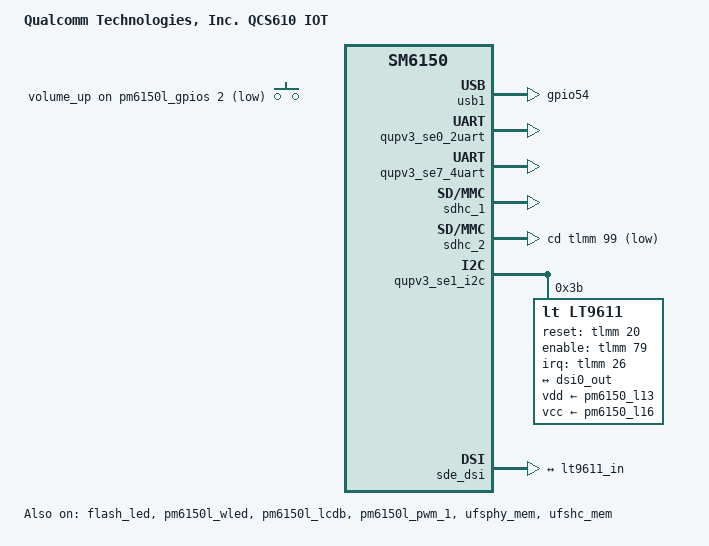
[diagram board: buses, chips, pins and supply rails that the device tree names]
#include <dt-bindings/gpio/gpio.h>
#include <dt-bindings/interrupt-controller/irq.h>
#include <dt-bindings/iio/qcom,spmi-vadc.h>
#include <dt-bindings/input/input.h>
#include <dt-bindings/clock/qcom,rpmh.h>
#include <dt-bindings/clock/qcom,gcc-sm6150.h>
#include <dt-bindings/clock/qcom,camcc-sm6150.h>
#include <dt-bindings/clock/qcom,dispcc-sm6150.h>
#include <dt-bindings/clock/qcom,gpucc-sm6150.h>
#include <dt-bindings/iio/qti_power_supply_iio.h>
#include "camera/qcs610-camera-sensor-idp.dtsi"

#include "sm6150-audio.dtsi"
#include "sm6150-audio-overlay.dtsi"

/ {
	model = "Qualcomm Technologies, Inc. QCS610 IOT";
	compatible = "qcom,qcs610-iot", "qcom,qcs610", "qcom,iot";
	qcom,board-id = <32 0>;
};

&pm6150l_gpios {
	key_vol_up {
		key_vol_up_default: key_vol_up_default {
			pins = "gpio2";
			function = "normal";
			input-enable;
			bias-pull-up;
			power-source = <0>;
		};
	};

	irled {
		irled_pwm: irled_pwm_default {
			pins = "gpio6";
			function = "func1";
			qcom,drive-strength = <2>;
			power-source = <0>;
			bias-disable;
			output-low;
		};
	};

	cam_sensor_dvdd {
		cam_sensor_dvdd_default: cam_sensor_dvdd_default {
			pins = "gpio3";
			function = "normal";
			output-low;
			power-source = <0>;
		};
	};

	cam_sensor_1_vana {
		cam_sensor_1_vana_default: cam_sensor_1_vana_default {
			pins = "gpio8";
			function = "normal";
			output-low;
			power-source = <0>;
		};
	};

	cam_sensor_0_vana {
		cam_sensor_0_vana_default: cam_sensor_0_vana_default {
			pins = "gpio9";
			function = "normal";
			output-low;
			power-source = <0>;
		};
	};

	cam_sensor_1_2_vana {
		cam_sensor_1_2_vana_default: cam_sensor_1_2_vana_default {
			pins = "gpio4";
			function = "normal";
			output-low;
			power-source = <0>;
		};
	};
};

&soc {
	gpio_keys {
		compatible = "gpio-keys";
		label = "gpio-keys";

		pinctrl-names = "default";
		pinctrl-0 = <&key_vol_up_default>;

		vol_up {
			label = "volume_up";
			gpios = <&pm6150l_gpios 2 GPIO_ACTIVE_LOW>;
			linux,input-type = <1>;
			linux,code = <KEY_VOLUMEUP>;
			linux,can-disable;
			debounce-interval = <15>;
			gpio-key,wakeup;
		};
	};

	mtp_batterydata: qcom,battery-data {
		qcom,batt-id-range-pct = <15>;
		#include "qg-batterydata-alium-3600mah.dtsi"
		#include "qg-batterydata-mlp356477-2800mah.dtsi"
	};
};

&tlmm {
	usb_typea_host {
		usb_typea_host_en: usb_typea_host_en {
			mux {
				pins = "gpio54";
				function = "gpio";
			};

			config {
				pins = "gpio54";
				drive-strength = <2>;
				bias-disable;
				output-high;
			};
		};
	};
};


&flash_led {
	status = "ok";
};

&pm6150l_wled {
	qcom,string-cfg= <1>;
	qcom,leds-per-string = <7>;
	status = "ok";
	qcom,cabc-sel = <0>;
	qcom,fs-current-limit = <20000>;
	default-brightness = <2000>;
};

&pm6150l_lcdb {
	status = "ok";
};

&pm6150l_pwm_1 {
	status = "okay";
};

&usb1 {
	status = "okay";
	pinctrl-names = "default";
	pinctrl-0 = <&usb_typea_host_en>;
};

&pm6150_qg {
	qcom,qg-iterm-ma = <100>;
	qcom,hold-soc-while-full;
	qcom,linearize-soc;
	qcom,cl-feedback-on;
};

&pm6150_pdphy {
	#io-channel-cells = <1>;
	io-channels = <&pm6150_charger PSY_IIO_PD_ACTIVE>,
		      <&pm6150_charger PSY_IIO_TYPEC_CC_ORIENTATION>,
		      <&pm6150_charger PSY_IIO_CONNECTOR_TYPE>,
		      <&pm6150_charger PSY_IIO_TYPEC_POWER_ROLE>,
		      <&pm6150_charger PSY_IIO_PD_USB_SUSPEND_SUPPORTED>,
		      <&pm6150_charger PSY_IIO_TYPEC_SRC_RP>,
		      <&pm6150_charger PSY_IIO_PD_IN_HARD_RESET>,
		      <&pm6150_charger PSY_IIO_PD_CURRENT_MAX>,
		      <&pm6150_charger PSY_IIO_PR_SWAP>,
		      <&pm6150_charger PSY_IIO_PD_VOLTAGE_MIN>,
		      <&pm6150_charger PSY_IIO_PD_VOLTAGE_MAX>,
		      <&pm6150_charger PSY_IIO_USB_REAL_TYPE>,
		      <&pm6150_charger PSY_IIO_TYPEC_MODE>,
		      <&pm6150_charger PSY_IIO_PE_START>;
	io-channel-names = "pd_active",
			   "typec_cc_orientation",
			   "connector_type",
			   "typec_power_role",
			   "pd_usb_suspend_supported",
			   "typec_src_rp",
			   "pd_in_hard_reset",
			   "pr_current_max",
			   "pr_swap",
			   "pd_voltage_min",
			   "pd_voltage_max",
			   "real_type",
			   "typec_mode",
			   "pe_start";
};

&pm6150_charger {
	depends-on-supply = <&pm6150_vadc>;
	#io-channel-cells = <1>;
	io-channels = <&pm6150_vadc ADC5_USB_IN_V_16>,
		      <&pm6150_vadc ADC5_USB_IN_I>,
		      <&pm6150_vadc ADC5_CHG_TEMP>,
		      <&pm6150_vadc ADC5_DIE_TEMP>,
		      <&pm6150_vadc ADC5_AMUX_THM4_100K_PU>,
		      <&pm6150_vadc ADC5_SBUx>,
		      <&pm6150_vadc ADC5_VPH_PWR>,
		      <&pm6150_qg PSY_IIO_RESISTANCE_ID>,
		      <&pm6150_qg PSY_IIO_VOLTAGE_NOW>,
		      <&pm6150_qg PSY_IIO_TEMP>,
		      <&pm6150_qg PSY_IIO_CAPACITY>,
		      <&pm6150_qg PSY_IIO_VOLTAGE_OCV>,
		      <&pm6150_qg PSY_IIO_VOLTAGE_AVG>,
		      <&pm6150_qg PSY_IIO_DEBUG_BATTERY>,
		      <&pm6150_qg PSY_IIO_REAL_CAPACITY>,
		      <&pm6150_qg PSY_IIO_CC_SOC>,
		      <&pm6150_qg PSY_IIO_CURRENT_NOW>,
		      <&pm6150_qg PSY_IIO_VOLTAGE_MAX>,
		      <&pm6150_qg PSY_IIO_CHARGE_COUNTER>,
		      <&pm6150_qg PSY_IIO_CYCLE_COUNT>,
		      <&pm6150_qg PSY_IIO_TIME_TO_FULL_NOW>;
	io-channel-names = "usb_in_voltage",
			   "usb_in_current",
			   "chg_temp",
			   "die_temp",
			   "conn_temp",
			   "sbux_res",
			   "vph_voltage",
			   "resistance_id",
			   "voltage_now",
			   "temp",
			   "capacity",
			   "voltage_ocv",
			   "voltage_avg",
			   "debug_battery",
			   "real_capacity",
			   "cc_soc",
			   "current_now",
			   "voltage_max",
			   "charge_counter",
			   "cycle_count",
			   "time_to_full_now";
	qcom,batteryless-platform;
	qcom,auto-recharge-soc = <98>;
	qcom,step-charging-enable;
	qcom,sw-jeita-enable;
	qcom,fcc-stepping-enable;
	qcom,suspend-input-on-debug-batt;
	qcom,sec-charger-config = <0>;
	qcom,thermal-mitigation = <4200000 3500000 3000000
			2500000 2000000 1500000 1000000 500000>;
	dpdm-supply = <&qusb_phy0>;
	qcom,charger-temp-max = <800>;
	qcom,smb-temp-max = <800>;
};

&ufsphy_mem {
	compatible = "qcom,ufs-phy-qmp-v3-660";

	vdda-phy-supply = <&pm6150_l4>; /* 0.9v */
	vdda-phy-always-on;
	vdda-pll-supply = <&pm6150_l11>;
	vdda-phy-max-microamp = <30000>;
	vdda-pll-max-microamp = <12000>;

	status = "ok";
};

&ufshc_mem {
	vdd-hba-supply = <&ufs_phy_gdsc>;
	vdd-hba-fixed-regulator;
	vcc-supply = <&pm6150l_l11>;
	vcc-voltage-level = <2960000 2960000>;
	vccq2-supply = <&pm6150_l12>;
	vccq2-voltage-level = <1800000 1800000>;
	vcc-max-microamp = <600000>;
	vccq2-max-microamp = <600000>;

	qcom,vddp-ref-clk-supply = <&pm6150l_l3>;
	qcom,vddp-ref-clk-max-microamp = <100>;
	qcom,vddp-ref-clk-min-uV = <1232000>;
	qcom,vddp-ref-clk-max-uV = <1260000>;

	/*
	 * QCS610 UFS 3.x uses PMIC Buck regulator which requires additional
	 * delay to settle its voltage back to normal 2.5volts from
	 * the power down, so below property is used to enable delay
	 * before sending start stop unit command.
	 */
	qcom,delay-ssu;

	status = "ok";
};

&usb0 {
	qcom,interconnect-values-nom = /* NOMINAL Votes */
						<1000000 2500000>,
						<0 2400>,
						<0 40000>;
	qcom,interconnect-values-svs = /* SVS Votes */
						<240000 700000>,
						<0 2400>,
						<0 40000>;
	extcon = <&pm6150_pdphy>, <&pm6150_charger>, <&eud>;

	#io-channel-cells = <1>;
	io-channels= <&pm6150_charger PSY_IIO_USB_REAL_TYPE>;
	io-channel-names = "chg_type";
};

&qupv3_se0_2uart {
	status = "ok";
};

&qupv3_se7_4uart {
	status = "ok";
};

&pil_camera_mem {
	reg = <0x0 0x8f800000 0x0 0x500000>;
};

&pil_modem_mem {
	reg = <0x0 0x8fd00000 0x0 0x3100000>;
};

&msm_gpu {
	/delete-node/qcom,gpu-mempools;
};

&sdhc_1 {
	vdd-supply = <&pm6150l_l11>;
	qcom,vdd-voltage-level = <2950000 2950000>;
	qcom,vdd-current-level = <0 570000>;

	vdd-io-supply = <&pm6150_l12>;
	qcom,vdd-io-always-on;
	qcom,vdd-io-lpm-sup;
	qcom,vdd-io-voltage-level = <1800000 1800000>;
	qcom,vdd-io-current-level = <0 325000>;

	pinctrl-names = "default", "sleep";
	pinctrl-0 = <&sdc1_on>;
	pinctrl-1 = <&sdc1_off>;

	status = "ok";
};

&sdhc_2 {
	vdd-supply = <&pm6150l_l9>;
	qcom,vdd-voltage-level = <2950000 2950000>;
	qcom,vdd-current-level = <0 800000>;

	vdd-io-supply = <&pm6150l_l6>;
	qcom,vdd-io-voltage-level = <1800000 3100000>;
	qcom,vdd-io-current-level = <0 22000>;

	pinctrl-names = "default", "sleep";
	pinctrl-0 = <&sdc2_on>;
	pinctrl-1 = <&sdc2_off>;

	cd-gpios = <&tlmm 99 GPIO_ACTIVE_LOW>;

	status = "ok";
};

&L16A {
	regulator-max-microvolt = <3304000>;
};

&L19A {
	regulator-max-microvolt = <3304000>;
};

&L4C {
	regulator-max-microvolt = <2912000>;
};

&L5C {
	regulator-max-microvolt = <2912000>;
};

&L13A {
	regulator-always-on;
};

&L7C {
	regulator-always-on;
};

&L10A {
	regulator-always-on;
};

&L14A {
	regulator-always-on;
};

&sde_dp {
	status="disabled";
};

&mdss_mdp {
	connectors = <&smmu_sde_unsec &sde_dsi &sde_rscc &sde_wb>;
};

&dsi_ili9881c_720p_video {
	qcom,panel-supply-entries = <&dsi_panel_pwr_supply>;
	qcom,mdss-dsi-bl-pmic-control-type = "bl_ctrl_wled";
	qcom,mdss-dsi-bl-min-level = <1>;
	qcom,mdss-dsi-bl-max-level = <4095>;
	qcom,platform-reset-gpio = <&tlmm 91 0>;
};

&ts_int_active {
	mux {
		pins = "gpio87";
	};

	config {
		pins = "gpio87";
	};
};

&ts_int_suspend {
	mux {
		pins = "gpio87";
	};

	config {
		pins = "gpio87";
	};
};

&ts_reset_active {
	mux {
		pins = "gpio75";
	};

	config {
		pins = "gpio75";
	};
};

&ts_reset_suspend {
	mux {
		pins = "gpio75";
	};

	config {
		pins = "gpio75";
	};
};

&ts_release {
	mux {
		pins = "gpio87", "gpio75";
	};

	config {
		pins = "gpio87", "gpio75";
	};
};

&qupv3_se1_i2c {
	#address-cells = <1>;
	#size-cells = <0>;

	status = "ok";
	qcom,i2c-touch-active = "focaltech,fts_ts";

	focaltech@38 {
		status = "disabled";
		compatible = "focaltech,fts_ts";
		reg = <0x38>;
		interrupt-parent = <&tlmm>;
		interrupts = <87 0x2008>;
		focaltech,reset-gpio = <&tlmm 75 0x0>;
		focaltech,irq-gpio = <&tlmm 87 0x2008>;
		focaltech,max-touch-number = <5>;
		focaltech,display-coords = <0 0 720 1280>;

		vdd-supply = <&L7C>;
		vcc_i2c-supply = <&L13A>;

		pinctrl-names = "pmx_ts_active", "pmx_ts_suspend",
			"pmx_ts_release";
		pinctrl-0 = <&ts_int_active &ts_reset_active>;
		pinctrl-1 = <&ts_int_suspend &ts_reset_suspend>;
		pinctrl-2 = <&ts_release>;

		panel = <&dsi_ili9881c_720p_video>;
	};

	lt9611: lt,lt9611@3b {
		compatible = "lt,lt9611";
		reg = <0x3b>;

		interrupts-extended = <&tlmm 26 IRQ_TYPE_EDGE_FALLING>;

		reset-gpios = <&tlmm 20 GPIO_ACTIVE_HIGH>;
		enable-gpios = <&tlmm 79 GPIO_ACTIVE_HIGH>;

		vdd-supply = <&pm6150_l13>;
		vcc-supply = <&pm6150_l16>;

		lt,non-pluggable;
		lt,preferred-mode = "1920x1080";

		lt,customize-modes {
			lt,customize-mode-id@0 {
				lt,mode-h-active = <1920>;
				lt,mode-h-front-porch = <88>;
				lt,mode-h-pulse-width = <44>;
				lt,mode-h-back-porch = <148>;
				lt,mode-h-active-high;
				lt,mode-v-active = <1080>;
				lt,mode-v-front-porch = <4>;
				lt,mode-v-pulse-width = <5>;
				lt,mode-v-back-porch = <36>;
				lt,mode-v-active-high;
				lt,mode-refresh-rate = <60>;
				lt,mode-clock-in-khz = <148500>;
			};
		};

		ports {
			#address-cells = <1>;
			#size-cells = <0>;

			port@0 {
				reg = <0>;
				lt9611_in: endpoint {
					remote-endpoint = <&dsi0_out>;
				};
			};
		};
	};
};

&sde_dsi {
	qcom,dsi-default-panel = <&dsi_ext_bridge_1080p>;
	ports {
		#address-cells = <1>;
		#size-cells = <0>;

		port@0 {
			reg = <0>;
			dsi0_out: endpoint {
				remote-endpoint = <&lt9611_in>;
			};
		};
	};
};
